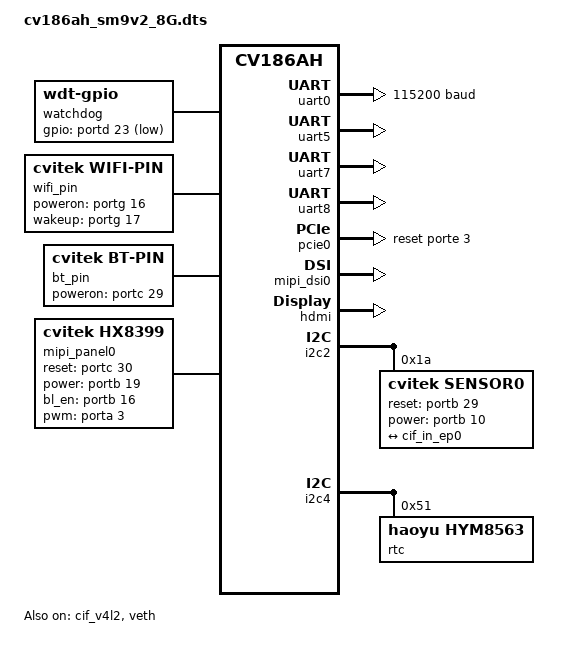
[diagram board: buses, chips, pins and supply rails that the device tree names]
/dts-v1/;
#include "soph_base_arm64.dtsi"
//#include "soph_asic_bga.dtsi"
#include "soph_asic_emmc.dtsi"
#include "soph_default_memmap.dtsi"

/ {
	aliases {
		serial0 = &uart0;
	};

	chosen {
		stdout-path = "serial0"; // "serial0:115200n8", no arguments means no re-initialization
	};

	cpus {
		#size-cells = <0x0>;
		#address-cells = <0x1>;

		/delete-node/ cpu-map;
		cpu-map {
			cluster0 {
				core0 {
					cpu = <&cpu0>;
				};
				core1 {
					cpu = <&cpu1>;
				};
				core2 {
					cpu = <&cpu2>;
				};
				core3 {
					cpu = <&cpu3>;
				};
			};

			cluster1 {
				core0 {
					cpu = <&cpu4>;
				};
				core1 {
					cpu = <&cpu5>;
				};
			};
		};
		/delete-node/ cpu@102;
		/delete-node/ cpu@103;
	};

	watchdog: watchdog {
		compatible = "linux,wdt-gpio";
		gpios = <&portd 23 GPIO_ACTIVE_LOW>;	// gpio119
		hw_algo = "toggle";
		hw_margin_ms = <1600>;
		always-running;
	};

	wiegand0 {
		status = "disabled";
	};

	wiegand1 {
		status = "disabled";
	};

	wifi_pin {
		compatible = "cvitek,wifi-pin";
		poweron-gpio = <&portg 16 GPIO_ACTIVE_HIGH>;
		wakeup-gpio = <&portg 17 GPIO_ACTIVE_HIGH>;
	};

	bt_pin {
		compatible = "cvitek,bt-pin";
		poweron-gpio = <&portc 29 GPIO_ACTIVE_HIGH>;
	};

	/delete-node/ cv-sd1@29320000;
	/delete-node/ wifi-sd@29330000;
	wifi-sd@29320000 {
		compatible = "cvitek,cv186x-sd1";
		reg = <0x0 0x29320000 0x0 0x10000>;
		reg-names = "core_mem";
		bus-width = <4>;
		no-sd;
		no-mmc;
		non-removable;
		src-frequency = <383333334>;
		min-frequency = <400000>;
		max-frequency = <150000000>;
		64_addressing;
		reset_tx_rx_phy;
		pwr-gpios = <&portc 4 GPIO_ACTIVE_HIGH>;
		interrupts = <GIC_SPI 92 IRQ_TYPE_LEVEL_HIGH>;
	};
};

&uart0 {
	clock-frequency = <200000000>;
	current-speed = <115200>;
};

&uart3 {
	status = "disabled";
};

&uart4 {
	status = "disabled";
};

&uart5 {
	status = "okay";
};

&uart7 {
	status = "okay";
};

&uart8 {
	status = "okay";
};

&sata {
	status = "disabled";
};

&gpio_leds {
	status = "disabled";
};


&cif_v4l2 {
	status = "disabled";
};

&sd {
	pwr-gpios = <&portg 0 GPIO_ACTIVE_HIGH>;
};

&irrx {
	status = "disabled";
};

&keyscan {
	status = "disabled";
};

&pcie0 {
	status = "okay";
    reset-gpio = <&porte 3 GPIO_ACTIVE_HIGH>; //gpio 131
};

&pcie1 {
	status = "disabled";
	reset-gpio = <&porte 3 GPIO_ACTIVE_HIGH>; //gpio 131
};

&mipi_dsi1 {
	status = "disabled";
};

&mipi_panel1 {
	status = "disabled";
};

&lvds0 {
	status = "disabled";
};

&panel {
	status = "disabled";	
};

&lvds1 {
	status = "disabled";	
};

&panel1 {
	status = "disabled";
};

&mipi_dsi0 {
	status = "okay";
	clock-lane = <4>;
	data-lanes = <0 1>;
	lanes-swap = <0 0 0 0 0>;
};

&mipi_panel0 {
	compatible = "cvitek,hx8399";
	status = "okay";
	reset-gpio = <&portc 30 GPIO_ACTIVE_HIGH>;  // gpio94
	//power-gpio = <&portd 20 GPIO_ACTIVE_HIGH>;  // gpio116
	power-gpio = <&portb 19 GPIO_ACTIVE_HIGH>;  // gpio51
	bl_en-gpio = <&portb 16 GPIO_ACTIVE_HIGH>;  // gpio48
	pwm-gpio = <&porta 3 GPIO_ACTIVE_HIGH>;     //gpio3
};

&hdmi {
	status = "okay";
};

&usbdrd3_0 {
	//vbus-gpio = <&porte 1 GPIO_ACTIVE_HIGH>;
	usbdrd_dwc3_0: usb@39010000 {
		role-switch-default-mode = "host";
	};
};

&usbdrd3_1 {
	vbus-gpio = <&porte 2 GPIO_ACTIVE_HIGH>;
};

&cif_v4l2 {
	status = "okay";

	ports {
		#address-cells = <1>;
		#size-cells = <0>;
		cif_in: port@0 {
			reg = <0>;
			cif_in_ep0: endpoint@0 {
				remote-endpoint = <&sensor0_out>;
			};
		};
	};
};

&i2c2 {
	sensor0@1a{
		status = "okay";
		compatible = "cvitek,sensor0";
		reg = <0x1a>;
		reset-gpios = <&portb 29 GPIO_ACTIVE_HIGH>;  // gpio61
		power-gpios = <&portb 10 GPIO_ACTIVE_HIGH>;  // gpio42

		port {
			sensor0_out: endpoint {
				remote-endpoint = <&cif_in_ep0>;
			};
		};
	};
};

&dac1{
	mute-gpio-l;
};

&i2c4 {
	rtc@51 {
		status = "okay";
		compatible = "haoyu,hym8563";
		reg = <0x51>;
	};
};

&veth {
	status = "okay";
};

&spi0 {
	cs-gpios = <&porte 1 GPIO_ACTIVE_LOW>;
};
